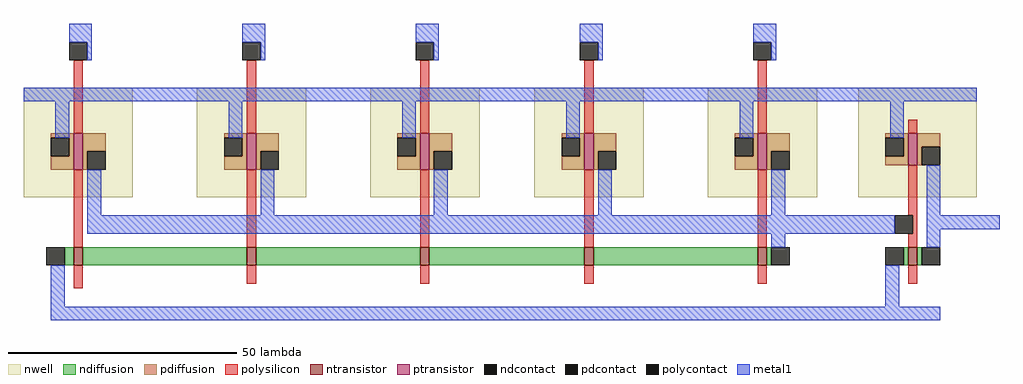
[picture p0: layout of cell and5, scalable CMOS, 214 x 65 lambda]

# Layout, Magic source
magic
tech scmos
<< nwell >>
rect -12 -14 12 10
rect 26 -14 50 10
rect 64 -14 88 10
rect 100 -14 124 10
rect 138 -14 162 10
rect 171 -14 197 10
<< ntransistor >>
rect -1 -29 1 -25
rect 37 -29 39 -25
rect 75 -29 77 -25
rect 111 -29 113 -25
rect 149 -29 151 -25
rect 182 -29 184 -25
<< ptransistor >>
rect -1 -8 1 0
rect 37 -8 39 0
rect 75 -8 77 0
rect 111 -8 113 0
rect 149 -8 151 0
rect 182 -7 184 0
<< ndiffusion >>
rect -3 -29 -1 -25
rect 1 -29 37 -25
rect 39 -29 75 -25
rect 77 -29 111 -25
rect 113 -29 149 -25
rect 151 -29 152 -25
rect 181 -29 182 -25
rect 184 -29 185 -25
<< pdiffusion >>
rect -6 -1 -1 0
rect -2 -5 -1 -1
rect -6 -8 -1 -5
rect 1 -4 6 0
rect 1 -8 2 -4
rect 32 -1 37 0
rect 36 -5 37 -1
rect 32 -8 37 -5
rect 39 -4 44 0
rect 39 -8 40 -4
rect 70 -1 75 0
rect 74 -5 75 -1
rect 70 -8 75 -5
rect 77 -4 82 0
rect 77 -8 78 -4
rect 106 -1 111 0
rect 110 -5 111 -1
rect 106 -8 111 -5
rect 113 -4 118 0
rect 113 -8 114 -4
rect 144 -1 149 0
rect 148 -5 149 -1
rect 144 -8 149 -5
rect 151 -4 156 0
rect 151 -8 152 -4
rect 177 -1 182 0
rect 181 -5 182 -1
rect 177 -7 182 -5
rect 184 -3 189 0
rect 184 -7 185 -3
<< ndcontact >>
rect -7 -29 -3 -25
rect 152 -29 156 -25
rect 177 -29 181 -25
rect 185 -29 189 -25
<< pdcontact >>
rect -6 -5 -2 -1
rect 2 -8 6 -4
rect 32 -5 36 -1
rect 40 -8 44 -4
rect 70 -5 74 -1
rect 78 -8 82 -4
rect 106 -5 110 -1
rect 114 -8 118 -4
rect 144 -5 148 -1
rect 152 -8 156 -4
rect 177 -5 181 -1
rect 185 -7 189 -3
<< polysilicon >>
rect -1 0 1 16
rect 37 0 39 16
rect 75 0 77 16
rect 111 0 113 16
rect 149 0 151 16
rect 182 0 184 3
rect -1 -25 1 -8
rect 37 -25 39 -8
rect 75 -25 77 -8
rect 111 -25 113 -8
rect 149 -25 151 -8
rect 182 -18 184 -7
rect 183 -22 184 -18
rect 182 -25 184 -22
rect -1 -34 1 -29
rect 37 -33 39 -29
rect 75 -33 77 -29
rect 111 -33 113 -29
rect 149 -33 151 -29
rect 182 -33 184 -29
<< polycontact >>
rect -2 16 2 20
rect 36 16 40 20
rect 74 16 78 20
rect 110 16 114 20
rect 148 16 152 20
rect 179 -22 183 -18
<< metal1 >>
rect -2 20 3 24
rect 2 16 3 20
rect 36 20 41 24
rect 40 16 41 20
rect 74 20 79 24
rect 78 16 79 20
rect 110 20 115 24
rect 114 16 115 20
rect 148 20 153 24
rect 152 16 153 20
rect -12 7 197 10
rect -5 -1 -2 7
rect 33 -1 36 7
rect 71 -1 74 7
rect 107 -1 110 7
rect 145 -1 148 7
rect 178 -1 181 7
rect 2 -18 5 -8
rect 40 -18 43 -8
rect 78 -18 81 -8
rect 114 -18 117 -8
rect 152 -18 155 -8
rect 186 -18 189 -7
rect 2 -22 179 -18
rect 186 -21 202 -18
rect 152 -25 155 -22
rect 186 -25 189 -21
rect -6 -38 -3 -29
rect 177 -38 180 -29
rect -6 -41 189 -38
<< end >>
